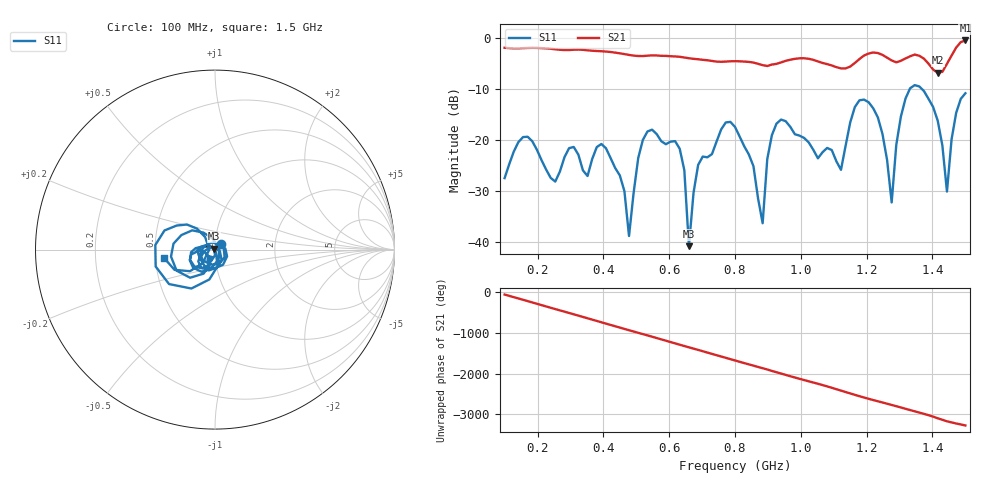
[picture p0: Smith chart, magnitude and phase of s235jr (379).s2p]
! NanoVNA-App
! Date: 2025-09-25 15:07:07
! Start: 100MHz Stop: 1,5GHz Points: 101
! S-Parameter data: F S11 S21 S12 S22
# Hz S RI R 50
!  Frequency  S11_Real  S11_Imag  S21_Real  S21_Imag  S12_Real  S12_Imag  S22_Real  S22_Imag
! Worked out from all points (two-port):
!   101 points, 100 MHz to 1.5 GHz, reference 50 ohm
!   highest |S21| = -0.54 dB at 1.5 GHz (marker M1); lowest = -6.9 dB at 1.416 GHz (marker M2)
!   |S21| within 3 dB of the highest: start of sweep to 498.5 MHz; 1.191 GHz to 1.253 GHz (61.45 MHz wide, 5.03 % of centre)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
!   lowest |S11| = -40.8 dB at 660 MHz (marker M3), VSWR 1.02, Z = 49.3 + j0.55 ohm
!   |S11| at or under -10 dB: start of sweep to 1.331 GHz; 1.367 GHz to end of sweep
!   S12 and S22 are empty: the file has one direction only
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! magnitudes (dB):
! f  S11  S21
! 100 MHz  -27.5  -2.0
! 156 MHz  -19.4  -2.0
! 338 MHz  -26.0  -2.4
! 408 MHz  -21.6  -2.7
! 478 MHz  -38.8  -3.4
! 520 MHz  -20.0  -3.6
! 576 MHz  -20.2  -3.5
! 632 MHz  -21.7  -3.7
! 660 MHz  -40.8  -4.0
! 688 MHz  -24.9  -4.2
! 800 MHz  -17.5  -4.6
! 884 MHz  -36.3  -5.4
! 898 MHz  -23.8  -5.5
! 926 MHz  -16.8  -5.1
! 1.038 GHz  -21.9  -4.3
! 1.122 GHz  -25.8  -6.0
! 1.206 GHz  -12.6  -3.1
! 1.276 GHz  -32.2  -4.4
! 1.332 GHz  -9.9  -3.6
! 1.416 GHz  -16.2  -6.9
! 1.444 GHz  -30.1  -5.1
! 1.5 GHz  -10.9  -0.5
